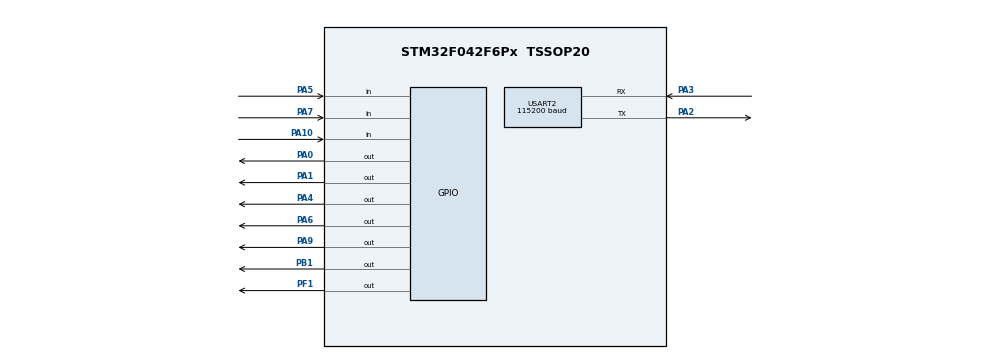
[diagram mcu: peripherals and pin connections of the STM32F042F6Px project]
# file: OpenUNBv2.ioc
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Mcu.Family=STM32F0
RCC.PLLSourceVirtual=RCC_PLLSOURCE_HSE
PA0.PinState=GPIO_PIN_SET
USART2.BaudRate=115200
RCC.SYSCLKSource=RCC_SYSCLKSOURCE_PLLCLK
ProjectManager.StackSize=0x400
PA0.GPIO_Speed=GPIO_SPEED_FREQ_HIGH
PA3.Mode=Asynchronous
ProjectManager.TargetToolchain=STM32CubeIDE
RCC.HCLKFreq_Value=24000000
TIM3.Period=65533
PA9.Signal=GPIO_Output
PA9.PinState=GPIO_PIN_SET
PA1.Signal=GPIO_Output
RCC.AHBFreq_Value=24000000
PF0-OSC_IN.Mode=HSE-External-Clock-Source
PA5.Signal=GPIO_Input
RCC.HSE_VALUE=3000000
board=custom
USART2.VirtualMode-Asynchronous=VM_ASYNC
RCC.PLLMUL=RCC_PLL_MUL8
PA4.GPIO_Speed=GPIO_SPEED_FREQ_HIGH
VP_TIM2_VS_ClockSourceINT.Mode=Internal
PB1.GPIO_Speed=GPIO_SPEED_FREQ_HIGH
PA1.GPIO_Speed=GPIO_SPEED_FREQ_HIGH
TIM3.Prescaler=21
PF1-OSC_OUT.GPIO_Speed=GPIO_SPEED_FREQ_HIGH
Mcu.Name=STM32F042F6Px
PA2.Signal=USART2_TX
PA0.Signal=GPIO_Output
PA4.Signal=GPIO_Output
RCC.SYSCLKFreq_VALUE=24000000
Mcu.Package=TSSOP20
TIM2.Prescaler=24000
PB1.Signal=GPIO_Output
PA6.Signal=GPIO_Output
PA10.Signal=GPIO_Input
ProjectManager.HeapSize=0x200
PA1.PinState=GPIO_PIN_SET
RCC.APB1TimFreq_Value=24000000
PA2.Mode=Asynchronous
PA9.GPIO_Speed=GPIO_SPEED_FREQ_HIGH
PA6.GPIO_Speed=GPIO_SPEED_FREQ_HIGH
PF0-OSC_IN.Signal=RCC_OSC_IN
TIM3.TIM_MasterOutputTrigger=TIM_TRGO_RESET
RCC.APB1Freq_Value=24000000
VP_TIM3_VS_ClockSourceINT.Mode=Internal
PF1-OSC_OUT.Signal=GPIO_Output
PA0.GPIO_ModeDefaultOutputPP=GPIO_MODE_OUTPUT_OD
PA3.Signal=USART2_RX
PF1-OSC_OUT.PinState=GPIO_PIN_SET
PA7.Signal=GPIO_Input
PA1.GPIO_ModeDefaultOutputPP=GPIO_MODE_OUTPUT_OD

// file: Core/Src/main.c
/* USER CODE BEGIN Header */
/**
 ******************************************************************************
 * @file           : main.c
 * @brief          : Main program body
 ******************************************************************************
 * @attention
 *
 * <h2><center>&copy; Copyright (c) 2021 STMicroelectronics.
 * All rights reserved.</center></h2>
 *
 * This software component is licensed by ST under BSD 3-Clause license,
 * the "License"; You may not use this file except in compliance with the
 * License. You may obtain a copy of the License at:
 *                        opensource.org/licenses/BSD-3-Clause
 *
 ******************************************************************************
 */
/* USER CODE END Header */
#include "main.h"

/* USER CODE BEGIN Includes */
#include <string.h>
#include <stdio.h>
#include "AX5243.h"
#include "SW_interfaces.h"
#include "encrypt/OpenUNBEncrypterLL.h"
#include "encrypt/OpenUNBConsts.h"
#include "polar/OpenUNBEncoderLL.h"
/* USER CODE END Includes */

/* USER CODE BEGIN PTD */

#define FLASH_FKEY1 0x45670123
#define FLASH_FKEY2 0xCDEF89AB

#define FLASH_CONST_ADDR	(0x8008000 - 0x200) // last 512 bytes
#define FLASH_Na			FLASH_CONST_ADDR
#define FLASH_K0			(FLASH_Na + 4)
#define FLASH_DEV_ID_SIZE	(FLASH_K0 + 64)
#define FLASH_DEV_ID		(FLASH_DEV_ID_SIZE + 2)

const uint32_t PREAMB = 0x97157A6F;
/* USER CODE END PTD */

/* USER CODE BEGIN PV */
uint8_t u2_rx_buff[500];
uint8_t tx_buff[256];
uint8_t error_flag = 0;
uint16_t RX_STR_Size;
uint32_t f_carrier;
uint16_t PWR_dbm;
uint8_t shaping_filter;
uint8_t p_d;
uint16_t RX_Data_Size;
uint8_t Dev_addr, Reg_addr, Reg_data;
uint8_t data_after_preapare[64];
uint32_t msTicks;

/* USER CODE END PV */

void SystemClock_Config(void);
static void MX_GPIO_Init(void);
static void MX_USART2_UART_Init(void);
static void MX_TIM3_Init(void);
static void MX_TIM2_Init(void);

/* USER CODE BEGIN 0 */

int preapare_msg_16bit(struct encrypt_data_t *initData, uint8_t *in,
		uint8_t *out);
int preapare_msg_48bit(struct encrypt_data_t *initData, uint8_t *in,
		uint8_t *out);
void preapare_msg_activate(struct encrypt_data_t *initData, uint8_t *out);

void USART_TX(uint8_t *dt, uint16_t sz);
void USART_TX_Str(char *string);
uint16_t USART_RX_Str(void);
uint32_t AsciiToDec(uint8_t *s, uint8_t len, uint8_t number);
uint8_t AsciiToHex(uint8_t s_h, uint8_t s_l);
uint16_t Ascii2ToHex(uint8_t *s, uint16_t len, uint8_t number);
void USART_TX_h_VAL(char *string, uint8_t val);
void USART_TX_d_VAL(char *string, uint32_t val, uint8_t len);

void FLASH_Unlock(void) {
	if ((FLASH->CR & FLASH_CR_LOCK) != RESET) {
		FLASH->KEYR = FLASH_FKEY1;
		FLASH->KEYR = FLASH_FKEY2;
	}
}

void FLASH_Lock(void) {
	FLASH->CR |= FLASH_CR_LOCK;
}

void FLASH_ClearPage(uint32_t Page_Address) {
	FLASH->CR |= FLASH_CR_PER;
	FLASH->AR = Page_Address;
	FLASH->CR |= FLASH_CR_STRT;
	while ((FLASH->SR & FLASH_SR_BSY))
		;
	FLASH->CR &= ~FLASH_CR_PER;
}

uint16_t FLASH_Read(uint32_t Address) {
	return (*(__IO uint16_t*) Address);
}

void FLASH_Write(uint32_t Address, uint16_t Data) {

	FLASH->CR |= FLASH_CR_PG;
	while ((FLASH->SR & FLASH_SR_BSY))
		;
	*(__IO uint16_t*) Address = Data;
	while ((FLASH->SR & FLASH_SR_BSY))
		;
	FLASH->CR &= ~(FLASH_CR_PG);

}

void FLASH_Read_Data(struct encrypt_data_t *data) {
	memcpy(data, FLASH_CONST_ADDR, sizeof(struct encrypt_data_t));
}

void FLASH_Write_Data(struct encrypt_data_t *data) {
	FLASH_Unlock();
	FLASH_ClearPage(FLASH_CONST_ADDR);
	for (int i = 0; i < sizeof(struct encrypt_data_t) / 2; i++) {
		FLASH_Write(FLASH_CONST_ADDR + i * 2, ((uint16_t*) data)[i]);
	}
	FLASH_Lock();
}

/* USER CODE END 0 */

int main(void) {

	/* MCU Configuration--------------------------------------------------------*/

	/* Reset of all peripherals, Initializes the Flash interface and the Systick. */

	LL_APB1_GRP2_EnableClock(LL_APB1_GRP2_PERIPH_SYSCFG);
	LL_APB1_GRP1_EnableClock(LL_APB1_GRP1_PERIPH_PWR);

	/* System interrupt init*/

	/* Configure the system clock */
	SystemClock_Config();

	/* Initialize all configured peripherals */

	MX_GPIO_Init();
	MX_USART2_UART_Init();
	MX_TIM3_Init();
	MX_TIM2_Init();
	/* USER CODE BEGIN 2 */
	LL_TIM_EnableCounter(TIM3);
	LL_TIM_EnableCounter(TIM2);
	//(TIM2->CNT) = (0);
	LL_SYSTICK_EnableIT();
	// OpenUNB device

	struct encrypt_data_t initData;

	if (FLASH_Read(FLASH_CONST_ADDR) != 0xFFFF) {
		FLASH_Read_Data(&initData);
	} else {

		for (int i = 0; i < 16; i++) {
			initData.DevID[i] = rand() & 0xFF;
		}

		for (int i = 0; i < sizeof(initData.K0); i++) {
			initData.K0[i] = rand() & 0xFF;
		}

		initData.Na = 0;
	}

	initData.Na++;
	FLASH_Write_Data(&initData);

	initEncrypter(&initData);

	//encodeActivateMsg(&initData, act_msg, LL_GetTi);

	for (int i = 0; i < 10; i++) {                               //Indication
		LED_PORT->BSRR = (1 << LED_PIN);
		LL_mDelay(100);
		LED_PORT->BRR = (1 << LED_PIN);
		LL_mDelay(100);
	}

	f_carrier = default_f_carrier;
	PWR_dbm = default_PWR_dbm;
	shaping_filter = default_shaping;

	AX5243_init();
	USART_TX_Str("TRANSMITTER READY\n\r");

	USART_TX_h_VAL("Na: ", initData.Na);

	USART_TX_Str("DevID: ");
	for (int i = 0; i < 16; i++) {
		USART_TX_h_VAL_without_text(initData.DevID[i]);
	}
	USART_TX_Str("\n\r");

	USART_TX_Str("K0: ");
	for (int i = 0; i < sizeof(initData.K0); i++) {
		USART_TX_h_VAL_without_text(initData.K0[i]);
	}
	USART_TX_Str("\n\r");

	/* USER CODE END 2 */

	/* Infinite loop */
	/* USER CODE BEGIN WHILE */
	while (1) {
		RX_STR_Size = USART_RX_Str();

		if ((u2_rx_buff[0] == 'A') && (u2_rx_buff[1] == 'T')) {
			if (RX_STR_Size == 2) {
				error_flag = 0;
			} else {
				error_flag = 1;
			}
			/*
			 } else if ((u2_rx_buff[0] == 'F') && (u2_rx_buff[1] == 'R')) {
			 if (RX_STR_Size == 11) {
			 f_carrier = AsciiToDec(u2_rx_buff, 9, 3);
			 if (error_flag == 0)
			 error_flag = (AX5243_set_fr(f_carrier));
			 } else {
			 error_flag = 1;
			 }
			 */
		} else if ((u2_rx_buff[0] == 'P') && (u2_rx_buff[1] == 'W')) {
			if (RX_STR_Size == 4) {
				PWR_dbm = AsciiToDec(u2_rx_buff, 2, 3);
				if (error_flag == 0)
					error_flag = (AX5243_set_pw(PWR_dbm));
			} else {
				error_flag = 1;
			}
			/*
			 } else if ((u2_rx_buff[0] == 'F') && (u2_rx_buff[1] == 'L')) {
			 if (RX_STR_Size == 3) {
			 shaping_filter = AsciiToDec(u2_rx_buff, 1, 3);
			 if (error_flag == 0)
			 error_flag = (AX5243_set_fl(shaping_filter));
			 } else {
			 error_flag = 1;
			 }
			 */
		} else if ((u2_rx_buff[0] == 'P') && (u2_rx_buff[1] == 'D')) {
			if (RX_STR_Size == 3) {
				p_d = AsciiToDec(u2_rx_buff, 1, 3);
				if (error_flag == 0)
					error_flag = (AX5243_set_pd(p_d));
			} else {
				error_flag = 1;
			}

		} /*else if ((u2_rx_buff[0] == 'T') && (u2_rx_buff[1] == 'R')) {
			RX_Data_Size = Ascii2ToHex(u2_rx_buff, RX_STR_Size, 3);
			if (error_flag == 0)
				error_flag = (AX5243_transmit(tx_buff, RX_Data_Size));
		} else if ((u2_rx_buff[0] == 'I') && (u2_rx_buff[1] == 'R')) { // IR760D
			if (RX_STR_Size == 6) {
				Dev_addr = AsciiToHex(u2_rx_buff[2], u2_rx_buff[3]);
				Reg_addr = AsciiToHex(u2_rx_buff[4], u2_rx_buff[5]);
				if (error_flag == 0) {
					I2C_Start();
					I2C_Write_Byte(Dev_addr << 1);
					I2C_Write_Byte(Reg_addr);
					I2C_Start();
					I2C_Write_Byte(Dev_addr << 1 | 0x1);
					Reg_data = I2C_Read_Byte(1);
					I2C_Stop();
					USART_TX_h_VAL("Reg_data:", Reg_data);
				}
			} else {
				error_flag = 1;
			}
		}

		/*
		 else if ((u2_rx_buff[0] == 'I') && (u2_rx_buff[1] == 'W')) { // IW760D11
		 if (RX_STR_Size == 8) {
		 Dev_addr = AsciiToHex(u2_rx_buff[2], u2_rx_buff[3]);
		 Reg_addr = AsciiToHex(u2_rx_buff[4], u2_rx_buff[5]);
		 Reg_data = AsciiToHex(u2_rx_buff[6], u2_rx_buff[7]);
		 if (error_flag == 0) {
		 I2C_Start();
		 I2C_Write_Byte(Dev_addr << 1);
		 I2C_Write_Byte(Reg_addr);
		 I2C_Write_Byte(Reg_data);
		 I2C_Stop();
		 }
		 } else {
		 error_flag = 1;
		 }
		 }

		else if ((u2_rx_buff[0] == 'S') && (u2_rx_buff[1] == 'R')) {    // SR0D
			if (RX_STR_Size == 4) {
				Reg_addr = AsciiToHex(u2_rx_buff[2], u2_rx_buff[3]);
				if (error_flag == 0) {
					Reg_data = SPI2_Read_Byte(Reg_addr);
					USART_TX_h_VAL("Reg_data:", Reg_data);
				}
			} else {
				error_flag = 1;
			}
		}*/

		else if ((u2_rx_buff[0] == 'S') && (u2_rx_buff[1] == 'W')) {   // SW0D11
			if (RX_STR_Size == 6) {
				Reg_addr = AsciiToHex(u2_rx_buff[2], u2_rx_buff[3]);
				Reg_data = AsciiToHex(u2_rx_buff[4], u2_rx_buff[5]);
				if (error_flag == 0) {
					SPI2_Write_Byte(Reg_addr, Reg_data);
				}
			} else {
				error_flag = 1;
			}
		}

		else if ((u2_rx_buff[0] == 'N') && (u2_rx_buff[1] == 'T')) {   // NT0201
			if (RX_STR_Size == 6 || RX_STR_Size == 14) {
				RX_Data_Size = Ascii2ToHex(u2_rx_buff, RX_STR_Size, 3);
				if (RX_Data_Size == 2 && error_flag == 0) {

					uint8_t tmp = tx_buff[0];
					tx_buff[0] = tx_buff[1];
					tx_buff[1] = tmp;

					error_flag = preapare_msg_16bit(&initData, tx_buff,
							data_after_preapare);
					if (error_flag != 0) {
						USART_TX_Str("Wait 1 min\n\r");
						error_flag = 1;
					} else {
						error_flag = (AX5243_transmit(data_after_preapare, 20));
					}
				} else if (RX_Data_Size == 6 && error_flag == 0) {

					for (int i = 0; i < 3; i++) {
						uint8_t tmp = tx_buff[i];
						tx_buff[i] = tx_buff[5 - i];
						tx_buff[5 - i] = tmp;
					}

					error_flag = preapare_msg_48bit(&initData, tx_buff,
							data_after_preapare);
					if (error_flag != 0) {
						USART_TX_Str("Wait 1 min\n\r");
						error_flag = 1;
					} else {
						error_flag = (AX5243_transmit(data_after_preapare, 28));
					}
				}
			} else {
				error_flag = 1;
			}
		}

		else if ((u2_rx_buff[0] == 'A') && (u2_rx_buff[1] == 'M')) {    // AM
			if (RX_STR_Size == 2) {
				for (int i = 0; i < MAX_PKT_TX_NUM && error_flag == 0; i++) {
					preapare_msg_activate(&initData, data_after_preapare);
					error_flag = (AX5243_transmit(data_after_preapare, 20));

					LL_mDelay(500);
				}
			} else {
				error_flag = 1;
			}
		}

		/*
		 else if ((u2_rx_buff[0] == 'N') && (u2_rx_buff[1] == 'I')) {   // NI760D
		 if (RX_STR_Size == 6) {
		 Dev_addr = AsciiToHex(u2_rx_buff[2], u2_rx_buff[3]);
		 Reg_addr = AsciiToHex(u2_rx_buff[4], u2_rx_buff[5]);
		 if (error_flag == 0) {
		 I2C_Start();
		 I2C_Write_Byte(Dev_addr << 1);
		 I2C_Write_Byte(Reg_addr);
		 I2C_Start();
		 I2C_Write_Byte(Dev_addr << 1 | 0x1);
		 Reg_data = I2C_Read_Byte(1);
		 I2C_Stop();
		 tx_buff[0] = Reg_addr;
		 tx_buff[1] = Reg_data;
		 error_flag = preapare_msg_16bit(&initData, tx_buff,
		 data_after_preapare);
		 if (error_flag != 0) {
		 error_flag = 1;
		 } else {
		 error_flag = (AX5243_transmit(data_after_preapare, 20));
		 }
		 }
		 } else {
		 error_flag = 1;
		 }
		 }

		 /*
		 else if ((u2_rx_buff[0] == 'N') && (u2_rx_buff[1] == 'S')) {    // NS0D
		 if (RX_STR_Size == 4) {
		 Reg_addr = AsciiToHex(u2_rx_buff[2], u2_rx_buff[3]);
		 if (error_flag == 0) {
		 Reg_data = SPI2_Read_Byte(Reg_addr);
		 tx_buff[0] = Reg_addr;
		 tx_buff[1] = Reg_data;
		 error_flag = preapare_msg_16bit(&initData, tx_buff,
		 data_after_preapare);
		 if (error_flag != 0) {
		 error_flag = 1;
		 } else {
		 error_flag = (AX5243_transmit(data_after_preapare, 20));
		 }
		 }
		 } else {
		 error_flag = 1;
		 }
		 }

		 /*
		 else if ((u2_rx_buff[0] == 'S') && (u2_rx_buff[1] == 'V')) {
		 if (RX_STR_Size == 2) {
		 USART_TX_Str("Software version:2.0 \n\r");
		 } else {
		 error_flag = 1;
		 }
		 } */
		else if ((u2_rx_buff[0] == 'T') && (u2_rx_buff[1] == 'S')) {
			if (RX_STR_Size == 2) {
				USART_TX_Str("Transmitter settings\n\r");
				USART_TX_d_VAL("carrier frequency:", f_carrier, 9);
				USART_TX_d_VAL("transmit power:", PWR_dbm, 2);
				USART_TX_d_VAL("shaping filter:", shaping_filter, 1);
			} else {
				error_flag = 1;
			}
		} else if ((u2_rx_buff[0] == 'R') && (u2_rx_buff[1] == 'S')) {
			if (RX_STR_Size == 2) {
				AX5243_rs();
			} else {
				error_flag = 1;
			}

		} else if ((u2_rx_buff[0] == 'D') && (u2_rx_buff[1] == 'A')) {
			if (RX_STR_Size > 2 && RX_STR_Size == 32) {

				for (int i = 0; i < 16; i++) {
					initData.DevID[i] = AsciiToHex(u2_rx_buff[2 + i * 2],
							u2_rx_buff[2 + i * 2 + 1]);
				}

				FLASH_Write_Data(&initData);
			} else {
				error_flag = 1;
			}
		} else if ((u2_rx_buff[0] == 'K') && (u2_rx_buff[1] == '0')) {
			if (RX_STR_Size == 2) {
				for (int i = 0; i < sizeof(initData.K0); i++) {
					initData.K0[i] = rand() & 0xFF;
				}

				USART_TX_Str("K0: ");
				for (int i = 0; i < sizeof(initData.K0); i++) {
					USART_TX_h_VAL_without_text(initData.K0[i]);
				}
				USART_TX_Str("\n\r");

				FLASH_Write_Data(&initData);
			} else {
				error_flag = 1;
			}

		} else if ((u2_rx_buff[0] == 'E') && (u2_rx_buff[1] == 'F')) {
			if (RX_STR_Size == 2) {
				FLASH_Unlock();
				FLASH_ClearPage(FLASH_CONST_ADDR);
				FLASH_Lock();
			} else {
				error_flag = 1;
			}

		} else if ((u2_rx_buff[0] == 'S') && (u2_rx_buff[1] == 'C')) {
			if (RX_STR_Size == 2) {

				USART_TX_Str("Supported Commands:\n\r");
				USART_TX_Str("AT-communication test,\n\r");
				//USART_TX_Str("FRxxxxxxxxx-carrier frequency,\n\r");
				USART_TX_Str("PWxx-transmitter power,\n\r");
				USART_TX_Str("SV-software version,\n\r");
				USART_TX_Str("TRzz...z-raw data transfer,\n\r");
				USART_TX_Str("TS-transmitter settings,\n\r");
				USART_TX_Str("RS-module reboot,\n\r");
				USART_TX_Str("SC-command list,\n\r");
				USART_TX_Str("PDx-Phase direction.\n\r");
				USART_TX_Str("DAxx..xx - device address.\n\r");
				USART_TX_Str("K0 - generate new device key.\n\r");
				USART_TX_Str("EF - erase flash data device.\n\r");
				//USART_TX_Str(
				//		"FLx- amplitude shape filter at phase shift (0-OFF, 1-ON),\n\r");
				//USART_TX_Str(
				//		"IRxxyy - external sensor reading by I2C. xx - sensor address, yy - register address,\n\r");
				//USART_TX_Str(
				//		"IWxxyyzz - Writing to an external sensor by I2C. xx-sensor address, yy-register address, zz-value,\n\r");
				//USART_TX_Str(
				//		"SRxx - Reading an external sensor by SPI. xx- register address,\n\r");
				//USART_TX_Str(
				//		"SWxxyy - Write to external sensor by SPI. xx- register address, yy- register value,\n\r");
				USART_TX_Str(
						"NTxx..x- Data transfer by OpenUNB protocol (data length 2 or 6 bytes),\n\r");
				USART_TX_Str(
						"AM- transmission of the OpenUNB activation message,\n\r");
				USART_TX_Str(
						"NIxxyy - Reading external sensor by I2C and send by OpenUNB protocol. xx - sensor address, yy - register address,\n\r");
				USART_TX_Str(
						"NSxx - Reading external sensor by SPI and sending by OpenUNB protocol. xx- register address.\n\r");

			} else {
				error_flag = 1;
			}
		}

		else {
			error_flag = 1;
		}
		if (!error_flag) {
			USART_TX_Str("OK\n\r");
			error_flag = 0;
		} else {
			USART_TX_Str("ERROR\n\r");
			error_flag = 0;
		}
		LL_mDelay(1);
		/* USER CODE END WHILE */

	}
}

void SystemClock_Config(void) {
	LL_FLASH_SetLatency(LL_FLASH_LATENCY_0);
	while (LL_FLASH_GetLatency() != LL_FLASH_LATENCY_0) {
	}
	LL_RCC_HSE_EnableBypass();
	LL_RCC_HSE_Enable();

	/* Wait till HSE is ready */
	while (LL_RCC_HSE_IsReady() != 1) {

	}
	LL_RCC_PLL_ConfigDomain_SYS(LL_RCC_PLLSOURCE_HSE, LL_RCC_PLL_MUL_8,
	LL_RCC_PREDIV_DIV_1);
	LL_RCC_PLL_Enable();

	/* Wait till PLL is ready */
	while (LL_RCC_PLL_IsReady() != 1) {

	}
	LL_RCC_SetAHBPrescaler(LL_RCC_SYSCLK_DIV_1);
	LL_RCC_SetAPB1Prescaler(LL_RCC_APB1_DIV_1);
	LL_RCC_SetSysClkSource(LL_RCC_SYS_CLKSOURCE_PLL);

	/* Wait till System clock is ready */
	while (LL_RCC_GetSysClkSource() != LL_RCC_SYS_CLKSOURCE_STATUS_PLL) {

	}
	LL_Init1msTick(24000000);
	LL_SetSystemCoreClock(24000000);
}

static void MX_TIM2_Init(void) {

	LL_TIM_InitTypeDef TIM_InitStruct = { 0 };

	/* Peripheral clock enable */
	LL_APB1_GRP1_EnableClock(LL_APB1_GRP1_PERIPH_TIM2);

	TIM_InitStruct.Prescaler = 24000;
	TIM_InitStruct.CounterMode = LL_TIM_COUNTERMODE_UP;
	TIM_InitStruct.Autoreload = 4294967295;
	TIM_InitStruct.ClockDivision = LL_TIM_CLOCKDIVISION_DIV1;
	LL_TIM_Init(TIM2, &TIM_InitStruct);
	LL_TIM_DisableARRPreload(TIM2);
	LL_TIM_SetClockSource(TIM2, LL_TIM_CLOCKSOURCE_INTERNAL);
	LL_TIM_SetTriggerOutput(TIM2, LL_TIM_TRGO_RESET);
	LL_TIM_DisableMasterSlaveMode(TIM2);

}

static void MX_TIM3_Init(void) {

	LL_TIM_InitTypeDef TIM_InitStruct = { 0 };

	/* Peripheral clock enable */
	LL_APB1_GRP1_EnableClock(LL_APB1_GRP1_PERIPH_TIM3);

	TIM_InitStruct.Prescaler = 21;
	TIM_InitStruct.CounterMode = LL_TIM_COUNTERMODE_UP;
	TIM_InitStruct.Autoreload = 65533;
	TIM_InitStruct.ClockDivision = LL_TIM_CLOCKDIVISION_DIV1;
	LL_TIM_Init(TIM3, &TIM_InitStruct);
	LL_TIM_DisableARRPreload(TIM3);
	LL_TIM_SetClockSource(TIM3, LL_TIM_CLOCKSOURCE_INTERNAL);
	LL_TIM_SetTriggerOutput(TIM3, LL_TIM_TRGO_RESET);
	LL_TIM_DisableMasterSlaveMode(TIM3);

}

static void MX_USART2_UART_Init(void) {

	LL_USART_InitTypeDef USART_InitStruct = { 0 };

	LL_GPIO_InitTypeDef GPIO_InitStruct = { 0 };

	/* Peripheral clock enable */
	LL_APB1_GRP1_EnableClock(LL_APB1_GRP1_PERIPH_USART2);

	LL_AHB1_GRP1_EnableClock(LL_AHB1_GRP1_PERIPH_GPIOA);
	/**USART2 GPIO Configuration
	 PA2   ------> USART2_TX
	 PA3   ------> USART2_RX
	 */
	GPIO_InitStruct.Pin = LL_GPIO_PIN_2;
	GPIO_InitStruct.Mode = LL_GPIO_MODE_ALTERNATE;
	GPIO_InitStruct.Speed = LL_GPIO_SPEED_FREQ_HIGH;
	GPIO_InitStruct.OutputType = LL_GPIO_OUTPUT_PUSHPULL;
	GPIO_InitStruct.Pull = LL_GPIO_PULL_NO;
	GPIO_InitStruct.Alternate = LL_GPIO_AF_1;
	LL_GPIO_Init(GPIOA, &GPIO_InitStruct);

	GPIO_InitStruct.Pin = LL_GPIO_PIN_3;
	GPIO_InitStruct.Mode = LL_GPIO_MODE_ALTERNATE;
	GPIO_InitStruct.Speed = LL_GPIO_SPEED_FREQ_HIGH;
	GPIO_InitStruct.OutputType = LL_GPIO_OUTPUT_PUSHPULL;
	GPIO_InitStruct.Pull = LL_GPIO_PULL_NO;
	GPIO_InitStruct.Alternate = LL_GPIO_AF_1;
	LL_GPIO_Init(GPIOA, &GPIO_InitStruct);

	USART_InitStruct.BaudRate = 115200;
	USART_InitStruct.DataWidth = LL_USART_DATAWIDTH_8B;
	USART_InitStruct.StopBits = LL_USART_STOPBITS_1;
	USART_InitStruct.Parity = LL_USART_PARITY_NONE;
	USART_InitStruct.TransferDirection = LL_USART_DIRECTION_TX_RX;
	USART_InitStruct.HardwareFlowControl = LL_USART_HWCONTROL_NONE;
	USART_InitStruct.OverSampling = LL_USART_OVERSAMPLING_16;
	LL_USART_Init(USART2, &USART_InitStruct);
	LL_USART_DisableIT_CTS(USART2);
	LL_USART_ConfigAsyncMode(USART2);
	LL_USART_Enable(USART2);

}

static void MX_GPIO_Init(void) {
	LL_GPIO_InitTypeDef GPIO_InitStruct = { 0 };

	/* GPIO Ports Clock Enable */
	LL_AHB1_GRP1_EnableClock(LL_AHB1_GRP1_PERIPH_GPIOF);
	LL_AHB1_GRP1_EnableClock(LL_AHB1_GRP1_PERIPH_GPIOA);
	LL_AHB1_GRP1_EnableClock(LL_AHB1_GRP1_PERIPH_GPIOB);

	/**/
	LL_GPIO_SetOutputPin(GPIOF, LL_GPIO_PIN_1);

	/**/
	LL_GPIO_SetOutputPin(GPIOA, LL_GPIO_PIN_0);

	/**/
	LL_GPIO_SetOutputPin(GPIOA, LL_GPIO_PIN_1);

	/**/
	LL_GPIO_SetOutputPin(GPIOA, LL_GPIO_PIN_9);

	/**/
	LL_GPIO_ResetOutputPin(GPIOA, LL_GPIO_PIN_4);

	/**/
	LL_GPIO_ResetOutputPin(GPIOA, LL_GPIO_PIN_6);

	/**/
	LL_GPIO_ResetOutputPin(GPIOB, LL_GPIO_PIN_1);

	/**/
	GPIO_InitStruct.Pin = LL_GPIO_PIN_1;
	GPIO_InitStruct.Mode = LL_GPIO_MODE_OUTPUT;
	GPIO_InitStruct.Speed = LL_GPIO_SPEED_FREQ_HIGH;
	GPIO_InitStruct.OutputType = LL_GPIO_OUTPUT_PUSHPULL;
	GPIO_InitStruct.Pull = LL_GPIO_PULL_NO;
	LL_GPIO_Init(GPIOF, &GPIO_InitStruct);

	/**/
	GPIO_InitStruct.Pin = LL_GPIO_PIN_0;
	GPIO_InitStruct.Mode = LL_GPIO_MODE_OUTPUT;
	GPIO_InitStruct.Speed = LL_GPIO_SPEED_FREQ_HIGH;
	GPIO_InitStruct.OutputType = LL_GPIO_OUTPUT_OPENDRAIN;
	GPIO_InitStruct.Pull = LL_GPIO_PULL_NO;
	LL_GPIO_Init(GPIOA, &GPIO_InitStruct);

	/**/
	GPIO_InitStruct.Pin = LL_GPIO_PIN_1;
	GPIO_InitStruct.Mode = LL_GPIO_MODE_OUTPUT;
	GPIO_InitStruct.Speed = LL_GPIO_SPEED_FREQ_HIGH;
	GPIO_InitStruct.OutputType = LL_GPIO_OUTPUT_OPENDRAIN;
	GPIO_InitStruct.Pull = LL_GPIO_PULL_NO;
	LL_GPIO_Init(GPIOA, &GPIO_InitStruct);

	/**/
	GPIO_InitStruct.Pin = LL_GPIO_PIN_4;
	GPIO_InitStruct.Mode = LL_GPIO_MODE_OUTPUT;
	GPIO_InitStruct.Speed = LL_GPIO_SPEED_FREQ_HIGH;
	GPIO_InitStruct.OutputType = LL_GPIO_OUTPUT_PUSHPULL;
	GPIO_InitStruct.Pull = LL_GPIO_PULL_NO;
	LL_GPIO_Init(GPIOA, &GPIO_InitStruct);

	/**/
	GPIO_InitStruct.Pin = LL_GPIO_PIN_5;
	GPIO_InitStruct.Mode = LL_GPIO_MODE_INPUT;
	GPIO_InitStruct.Pull = LL_GPIO_PULL_NO;
	LL_GPIO_Init(GPIOA, &GPIO_InitStruct);

	/**/
	GPIO_InitStruct.Pin = LL_GPIO_PIN_6;
	GPIO_InitStruct.Mode = LL_GPIO_MODE_OUTPUT;
	GPIO_InitStruct.Speed = LL_GPIO_SPEED_FREQ_HIGH;
	GPIO_InitStruct.OutputType = LL_GPIO_OUTPUT_PUSHPULL;
	GPIO_InitStruct.Pull = LL_GPIO_PULL_NO;
	LL_GPIO_Init(GPIOA, &GPIO_InitStruct);

	/**/
	GPIO_InitStruct.Pin = LL_GPIO_PIN_7;
	GPIO_InitStruct.Mode = LL_GPIO_MODE_INPUT;
	GPIO_InitStruct.Pull = LL_GPIO_PULL_NO;
	LL_GPIO_Init(GPIOA, &GPIO_InitStruct);

	/**/
	GPIO_InitStruct.Pin = LL_GPIO_PIN_1;
	GPIO_InitStruct.Mode = LL_GPIO_MODE_OUTPUT;
	GPIO_InitStruct.Speed = LL_GPIO_SPEED_FREQ_HIGH;
	GPIO_InitStruct.OutputType = LL_GPIO_OUTPUT_PUSHPULL;
	GPIO_InitStruct.Pull = LL_GPIO_PULL_NO;
	LL_GPIO_Init(GPIOB, &GPIO_InitStruct);

	/**/
	GPIO_InitStruct.Pin = LL_GPIO_PIN_9;
	GPIO_InitStruct.Mode = LL_GPIO_MODE_OUTPUT;
	GPIO_InitStruct.Speed = LL_GPIO_SPEED_FREQ_HIGH;
	GPIO_InitStruct.OutputType = LL_GPIO_OUTPUT_PUSHPULL;
	GPIO_InitStruct.Pull = LL_GPIO_PULL_NO;
	LL_GPIO_Init(GPIOA, &GPIO_InitStruct);

	/**/
	GPIO_InitStruct.Pin = LL_GPIO_PIN_10;
	GPIO_InitStruct.Mode = LL_GPIO_MODE_INPUT;
	GPIO_InitStruct.Pull = LL_GPIO_PULL_NO;
	LL_GPIO_Init(GPIOA, &GPIO_InitStruct);

}

/* USER CODE BEGIN 4 */

int preapare_msg_16bit(struct encrypt_data_t *initData, uint8_t *in,
		uint8_t *out) {
	uint8_t buff1[256];

	int ret = encodeData(initData, in, buff1, 2, msTicks);

	if (ret < 0)
		return ret;

	USART_TX_Str("Sending data: ");
	for (int i=7; i >= 0; i--) {
		USART_TX_h_VAL_without_text(buff1[i]);
	}
	USART_TX_Str("\n\r");

	encode64(buff1, out + 4);
	memcpy(out, &PREAMB, sizeof(PREAMB));

	to_diff(out, out, 20);

	return 0;
}

int preapare_msg_48bit(struct encrypt_data_t *initData, uint8_t *in,
		uint8_t *out) {
	uint8_t buff1[256] = {0};

	int ret = encodeData(initData, in, buff1, 6, msTicks);

	if (ret < 0)
		return ret;

	USART_TX_Str("Sending data: ");
	for (int i=11; i >= 0; i--) {
		USART_TX_h_VAL_without_text(buff1[i]);
	}
	USART_TX_Str("\n\r");

	encode96(buff1, out + 4);
	memcpy(out, &PREAMB, sizeof(PREAMB));

	to_diff(out, out, 28);

	return 0;
}

void preapare_msg_activate(struct encrypt_data_t *initData, uint8_t *out) {
	uint8_t buff1[256];

	encodeActivateMsg(initData, buff1, msTicks);

	USART_TX_Str("Sending data: ");
	for (int i=7; i >= 0; i--) {
		USART_TX_h_VAL_without_text(buff1[i]);
	}
	USART_TX_Str("\n\r");

	encode64(buff1, out + 4);

	memcpy(out, &PREAMB, sizeof(PREAMB));

	to_diff(out, out, 20);
}

void USART_TX(uint8_t *dt, uint16_t sz) {
	uint16_t in = 0;
	while (in < sz) {
		while (!LL_USART_IsActiveFlag_TXE(USART2)) {
		}
		LL_USART_TransmitData8(USART2, dt[in]);
		in++;
	}
}

void USART_TX_Str(char *string) {
	uint16_t size = strlen(string);
	uint16_t i = 0;
	while (i < size) {
		while (!LL_USART_IsActiveFlag_TXE(USART2)) {
		}
		LL_USART_TransmitData8(USART2, (uint8_t) string[i]);
		i++;
	}
}

void USART_TX_h_VAL(char *string, uint8_t val) {
	uint8_t s_size = strlen(string);
	uint8_t i, n = 0;
	uint8_t m_val[4];
	m_val[0] =
			(((val & 0xf0) >> 4) > 9) ?
					(((val & 0xf0) >> 4) + 0x57) : (((val & 0xf0) >> 4) + 0x30);
	m_val[1] =
			((val & 0x0f) > 9) ? ((val & 0x0f) + 0x57) : ((val & 0x0f) + 0x30);
	m_val[2] = '\n';
	m_val[3] = '\r';
	while (i < s_size) {
		while (!LL_USART_IsActiveFlag_TXE(USART2)) {
		}
		LL_USART_TransmitData8(USART2, (uint8_t) string[i]);
		i++;
	}
	while (n < 4) {
		while (!LL_USART_IsActiveFlag_TXE(USART2)) {
		}
		LL_USART_TransmitData8(USART2, m_val[n]);
		n++;
	}
}

void USART_TX_h_VAL_without_text(uint8_t val) {
	uint8_t m_val[4];
	uint8_t i, n = 0;

	m_val[0] =
			(((val & 0xf0) >> 4) > 9) ?
					(((val & 0xf0) >> 4) + 0x57) : (((val & 0xf0) >> 4) + 0x30);
	m_val[1] =
			((val & 0x0f) > 9) ? ((val & 0x0f) + 0x57) : ((val & 0x0f) + 0x30);
	while (n < 2) {
		while (!LL_USART_IsActiveFlag_TXE(USART2)) {
		}
		LL_USART_TransmitData8(USART2, m_val[n]);
		n++;
	}
}

void USART_TX_d_VAL(char *string, uint32_t val, uint8_t len) {
	uint8_t m_val[len + 2];
	for (uint8_t x = 0; x < len; x++) {
		uint32_t Os = 1;
		for (uint8_t n = 0; n < x; n++) {
			Os = Os * 10;
		}
		m_val[len - x - 1] = (val % (10 * Os)) / Os + 0x30;
	}
	m_val[len + 1] = '\n';
	m_val[len] = '\r';
	for (uint8_t i = 0; i < (strlen(string)); i++) {
		while (!LL_USART_IsActiveFlag_TXE(USART2)) {
		}
		LL_USART_TransmitData8(USART2, (uint8_t) string[i]);
	}
	for (uint8_t i = 0; i < (len + 2); i++) {
		while (!LL_USART_IsActiveFlag_TXE(USART2)) {
		}
		LL_USART_TransmitData8(USART2, (uint8_t) m_val[i]);
	}
}

uint16_t USART_RX_Str() {
	LL_USART_EnableDirectionRx(USART2);

	uint16_t ind = 0;

	//memset(u2_rx_buff, 0, sizeof(u2_rx_buff));

	while (!ind) {
		if (LL_USART_IsActiveFlag_IDLE(USART2)) {
			LL_USART_ClearFlag_IDLE(USART2);
		};

		while (!LL_USART_IsActiveFlag_IDLE(USART2)) {
			if (LL_USART_IsActiveFlag_RXNE(USART2)) {
				u2_rx_buff[ind] = (uint8_t) (USART2->RDR & 0x00FF);
				ind++;
			}
		}
	}
	LL_USART_ClearFlag_IDLE(USART2);
	LL_USART_DisableDirectionRx(USART2);

	while ((u2_rx_buff[ind - 1] == 0x0d) || (u2_rx_buff[ind - 1] == 0x0a)) {
		ind--;
	}

	return ind;
}

uint32_t AsciiToDec(uint8_t *s, uint8_t len, uint8_t number) {
	uint32_t dec_num = 0;
	uint32_t dec = 1;
	for (uint8_t i = number + len - 2; i > number - 2; i--) {
		if ((s[i] > 0x2f) && (s[i] < 0x3a)) {
			s[i] = s[i] - 0x30;
		} else {
			s[i] = 0;
			error_flag = 1;         // ERROR
		}
		dec_num = s[i] * dec + dec_num;
		dec *= 10;
	}
	return dec_num;
}

uint8_t AsciiToHex(uint8_t s_h, uint8_t s_l) {
	uint8_t hex_num;
	if ((s_h > 0x2f) && (s_h < 0x3a)) {
		s_h = s_h - 0x30;
	} else if ((s_h > 0x40) && (s_h < 0x47)) {
		s_h = s_h - 0x37;
	} else if ((s_h > 0x60) && (s_h < 0x67)) {
		s_h = s_h - 0x57;
	} else {
		s_h = 0;
		error_flag = 1;
	}
	if ((s_l > 0x2f) && (s_l < 0x3a)) {
		s_l = s_l - 0x30;
	} else if ((s_l > 0x40) && (s_l < 0x47)) {
		s_l = s_l - 0x37;
	} else if ((s_l > 0x60) && (s_l < 0x67)) {
		s_l = s_l - 0x57;
	} else {
		s_l = 0;
		error_flag = 1;
	}
	hex_num = s_l + (s_h << 4);
	return hex_num;
}
uint16_t Ascii2ToHex(uint8_t *s, uint16_t len, uint8_t number) {
	uint16_t ind = 0;
	if ((len - number) % 2) {
		for (uint16_t i = number - 1; i < len; i = i + 2) {
			if ((u2_rx_buff[i] > 0x2f) && (u2_rx_buff[i] < 0x3a)) {
				u2_rx_buff[i] = u2_rx_buff[i] - 0x30;
			}				// number
			else if ((u2_rx_buff[i] > 0x40) && (u2_rx_buff[i] < 0x47)) {
				u2_rx_buff[i] = u2_rx_buff[i] - 0x37;
			}					// C letter
			else if ((u2_rx_buff[i] > 0x60) && (u2_rx_buff[i] < 0x67)) {
				u2_rx_buff[i] = u2_rx_buff[i] - 0x57;
			} 					// m letter
			else {
				u2_rx_buff[i] = 0;
				error_flag = 1;
			}											// ERROR
			if ((u2_rx_buff[i + 1] > 0x2f) && (u2_rx_buff[i + 1] < 0x3a)) {
				u2_rx_buff[i + 1] = u2_rx_buff[i + 1] - 0x30;
			}	// number
			else if ((u2_rx_buff[i + 1] > 0x40) && (u2_rx_buff[i + 1] < 0x47)) {
				u2_rx_buff[i + 1] = u2_rx_buff[i + 1] - 0x37;
			}	    // C letter
			else if ((u2_rx_buff[i + 1] > 0x60) && (u2_rx_buff[i + 1] < 0x67)) {
				u2_rx_buff[i + 1] = u2_rx_buff[i + 1] - 0x57;
			} 	    // m letter
			else {
				u2_rx_buff[i + 1] = 0;
				error_flag = 1;
			}									// ERROR
			tx_buff[ind] = u2_rx_buff[i + 1] + (u2_rx_buff[i] << 4);
			ind++;
		}
	} else {
		error_flag = 1;
	}
	return ind;
}

/* USER CODE END 4 */

void Error_Handler(void) {
	__disable_irq();
	while (1) {
	}
}

/************************ (C) COPYRIGHT STMicroelectronics *****END OF FILE****/
